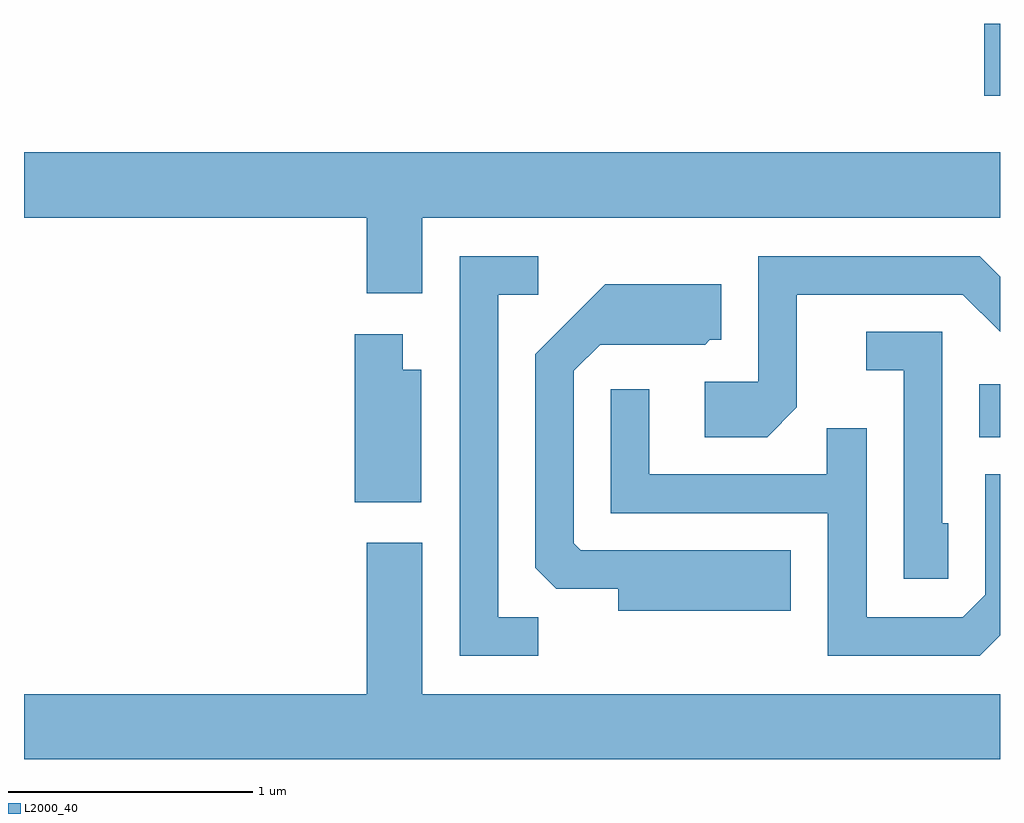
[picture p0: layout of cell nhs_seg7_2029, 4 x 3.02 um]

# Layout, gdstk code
import gdstk
lib = gdstk.Library(unit=1e-6, precision=1e-09)
def R(c, l, rs):  # rectangles x0, y0, x1, y1
    for r in rs: c.add(gdstk.rectangle(r[:2], r[2:], *l))
def P(c, l, *ps):  # polygons
    for p in ps: c.add(gdstk.Polygon(p, *l))
L2000_40 = (2000, 40)

nhs_seg7_2029 = lib.new_cell('nhs_seg7_2029')
R(nhs_seg7_2029, L2000_40, [(251.526,1684.556,251.611,1684.774), (251.546,1685.956,251.611,1686.252)])
P(nhs_seg7_2029, L2000_40, [(249.244,1685.456),(251.611,1685.456),(251.611,1685.724),(247.611,1685.724),(247.611,1685.456),(249.016,1685.456),(249.016,1685.146),(249.244,1685.146)],
  [(249.718,1683.819),(249.554,1683.819),(249.554,1685.141),(249.718,1685.141),(249.718,1685.299),(249.396,1685.299),(249.396,1683.661),(249.718,1683.661)],
  [(250.779,1684.679),(250.779,1685.141),(251.459,1685.141),(251.611,1684.989),(251.611,1685.215),(251.527,1685.299),(250.621,1685.299),(250.621,1684.784),(250.401,1684.784),(250.401,1684.556),(250.657,1684.556)],
  [(250.754,1684.094),(249.892,1684.094),(249.864,1684.122),(249.864,1684.829),(249.972,1684.936),(250.402,1684.936),(250.422,1684.956),(250.469,1684.956),(250.469,1685.184),(249.994,1685.184),(249.706,1684.897),(249.706,1684.022),(249.792,1683.936),(250.046,1683.936),(250.046,1683.846),(250.754,1683.846)],
  [(251.399,1684.204),(251.374,1684.204),(251.374,1684.989),(251.063,1684.989),(251.063,1684.831),(251.216,1684.831),(251.216,1683.976),(251.399,1683.976)],
  [(249.239,1684.834),(249.164,1684.834),(249.164,1684.979),(248.966,1684.979),(248.966,1684.291),(249.239,1684.291)],
  [(251.611,1683.745),(251.611,1684.404),(251.551,1684.404),(251.551,1683.912),(251.459,1683.819),(251.064,1683.819),(251.064,1684.593),(250.901,1684.593),(250.901,1684.404),(250.174,1684.404),(250.174,1684.753),(250.016,1684.753),(250.016,1684.246),(250.906,1684.246),(250.906,1683.661),(251.527,1683.661)],
  [(251.611,1683.504),(249.244,1683.504),(249.244,1684.124),(249.016,1684.124),(249.016,1683.504),(247.611,1683.504),(247.611,1683.236),(251.611,1683.236)])

lib.write_gds('nhs_seg7_2029.gds')
